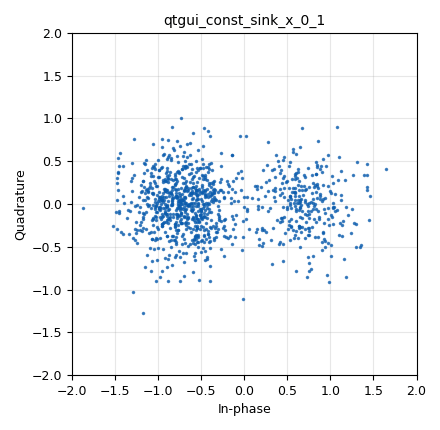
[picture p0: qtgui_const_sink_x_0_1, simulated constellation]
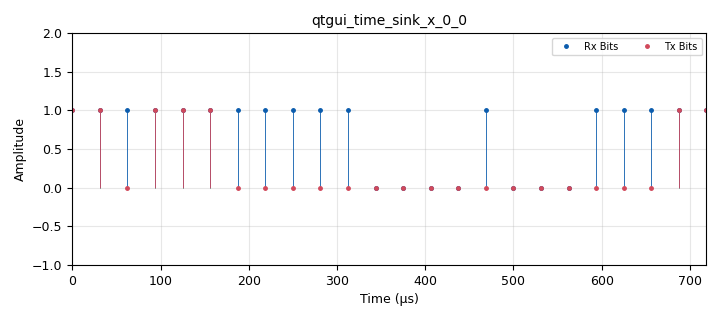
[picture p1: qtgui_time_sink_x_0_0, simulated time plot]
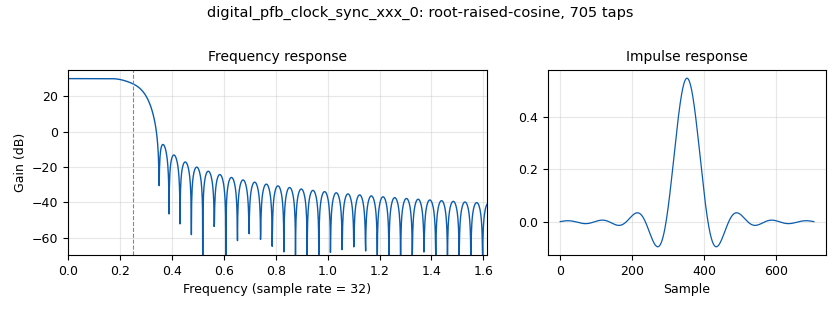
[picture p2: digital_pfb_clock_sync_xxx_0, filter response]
<?xml version='1.0' encoding='utf-8'?>
<?grc format='1' created='3.7.11'?>
<flow_graph>
<block>
<key>options</key>
<param><key>id</key><value>top_block</value></param>
<param><key>category</key><value>Custom</value></param>
<param><key>generate_options</key><value>qt_gui</value></param>
</block>
<block>
<key>variable</key>
<param><key>id</key><value>arity</value></param>
<param><key>value</key><value>2</value></param>
</block>
<block>
<key>variable_constellation_rect</key>
<param><key>id</key><value>bpsk</value></param>
<param><key>const_points</key><value>[1+0j, -1+0j]</value></param>
<param><key>imag_sect</key><value>2</value></param>
<param><key>real_sect</key><value>2</value></param>
<param><key>rot_sym</key><value>4</value></param>
<param><key>sym_map</key><value>[0, 1]</value></param>
<param><key>w_imag_sect</key><value>1</value></param>
<param><key>w_real_sect</key><value>1</value></param>
</block>
<block>
<key>variable_qtgui_range</key>
<param><key>id</key><value>delay</value></param>
<param><key>value</key><value>0</value></param>
<param><key>gui_hint</key><value>1,0,1,1</value></param>
<param><key>label</key><value>Delay</value></param>
<param><key>orient</key><value>Qt.Horizontal</value></param>
<param><key>start</key><value>0</value></param>
<param><key>step</key><value>1</value></param>
<param><key>stop</key><value>200</value></param>
</block>
<block>
<key>variable_qtgui_range</key>
<param><key>id</key><value>eq_gain</value></param>
<param><key>value</key><value>0.03</value></param>
<param><key>label</key><value>Equalizer: rate</value></param>
<param><key>orient</key><value>Qt.Horizontal</value></param>
<param><key>start</key><value>0.0</value></param>
<param><key>step</key><value>0.001</value></param>
<param><key>stop</key><value>0.3</value></param>
<param><key>widget</key><value>slider</value></param>
</block>
<block>
<key>variable</key>
<param><key>id</key><value>excess_bw</value></param>
<param><key>value</key><value>0.35</value></param>
</block>
<block>
<key>variable_qtgui_range</key>
<param><key>id</key><value>freq_offset</value></param>
<param><key>value</key><value>0</value></param>
<param><key>label</key><value>Frequency Offset</value></param>
<param><key>orient</key><value>Qt.Horizontal</value></param>
<param><key>start</key><value>-0.1</value></param>
<param><key>step</key><value>0.001</value></param>
<param><key>stop</key><value>0.1</value></param>
</block>
<block>
<key>variable</key>
<param><key>id</key><value>nfilts</value></param>
<param><key>value</key><value>32</value></param>
</block>
<block>
<key>variable_qtgui_range</key>
<param><key>id</key><value>noise_volt</value></param>
<param><key>value</key><value>1.2</value></param>
<param><key>label</key><value>Noise Voltage</value></param>
<param><key>orient</key><value>Qt.Vertical</value></param>
<param><key>start</key><value>0</value></param>
<param><key>step</key><value>0.01</value></param>
<param><key>stop</key><value>2</value></param>
</block>
<block>
<key>variable_qtgui_range</key>
<param><key>id</key><value>phase_bw</value></param>
<param><key>value</key><value>6.28/100.0</value></param>
<param><key>label</key><value>Phase: Bandwidth</value></param>
<param><key>orient</key><value>Qt.Horizontal</value></param>
<param><key>start</key><value>0.0</value></param>
<param><key>step</key><value>0.01</value></param>
<param><key>stop</key><value>1.0</value></param>
<param><key>widget</key><value>slider</value></param>
</block>
<block>
<key>variable</key>
<param><key>id</key><value>rrc_taps</value></param>
<param><key>value</key><value>firdes.root_raised_cosine(nfilts, nfilts, 1.0/float(sps), 0.35, 11*sps*nfilts)</value></param>
</block>
<block>
<key>variable</key>
<param><key>id</key><value>samp_rate</value></param>
<param><key>value</key><value>32000</value></param>
</block>
<block>
<key>variable</key>
<param><key>id</key><value>sps</value></param>
<param><key>value</key><value>2</value></param>
</block>
<block>
<key>variable_qtgui_range</key>
<param><key>id</key><value>time_offset</value></param>
<param><key>value</key><value>1.00</value></param>
<param><key>label</key><value>Timing Offset</value></param>
<param><key>orient</key><value>Qt.Horizontal</value></param>
<param><key>start</key><value>0.999</value></param>
<param><key>step</key><value>0.0001</value></param>
<param><key>stop</key><value>1.001</value></param>
</block>
<block>
<key>variable_qtgui_range</key>
<param><key>id</key><value>timing_loop_bw</value></param>
<param><key>value</key><value>6.28/100.0</value></param>
<param><key>label</key><value>Time: BW</value></param>
<param><key>orient</key><value>Qt.Horizontal</value></param>
<param><key>start</key><value>0.0</value></param>
<param><key>step</key><value>0.01</value></param>
<param><key>stop</key><value>0.2</value></param>
<param><key>widget</key><value>slider</value></param>
</block>
<block>
<key>blocks_add_xx</key>
<param><key>id</key><value>blocks_add_xx_0</value></param>
<param><key>type</key><value>float</value></param>
</block>
<block>
<key>blocks_delay</key>
<param><key>id</key><value>blocks_delay_0</value></param>
<param><key>delay</key><value>int(delay)</value></param>
<param><key>type</key><value>float</value></param>
</block>
<block>
<key>blocks_tags_strobe</key>
<param><key>id</key><value>blocks_tags_strobe_0</value></param>
<param><key>key</key><value>pmt.intern("strobe")</value></param>
<param><key>nsamps</key><value>3*8</value></param>
<param><key>type</key><value>float</value></param>
<param><key>value</key><value>pmt.intern("TEST")</value></param>
</block>
<block>
<key>blocks_throttle</key>
<param><key>id</key><value>blocks_throttle_0</value></param>
<param><key>samples_per_second</key><value>samp_rate</value></param>
<param><key>type</key><value>complex</value></param>
</block>
<block>
<key>blocks_uchar_to_float</key>
<param><key>id</key><value>blocks_uchar_to_float_0</value></param>
</block>
<block>
<key>blocks_uchar_to_float</key>
<param><key>id</key><value>blocks_uchar_to_float_1</value></param>
</block>
<block>
<key>blocks_unpack_k_bits_bb</key>
<param><key>id</key><value>blocks_unpack_k_bits_bb_0_0</value></param>
<param><key>k</key><value>8</value></param>
</block>
<block>
<key>blocks_vector_source_x</key>
<param><key>id</key><value>blocks_vector_source_x_0</value></param>
<param><key>type</key><value>byte</value></param>
<param><key>repeat</key><value>True</value></param>
<param><key>vector</key><value>(255, 8, 255)</value></param>
</block>
<block>
<key>channels_channel_model</key>
<param><key>id</key><value>channels_channel_model_0</value></param>
<param><key>epsilon</key><value>time_offset</value></param>
<param><key>freq_offset</key><value>freq_offset</value></param>
<param><key>noise_voltage</key><value>noise_volt</value></param>
<param><key>seed</key><value>0</value></param>
<param><key>taps</key><value>1+1j</value></param>
</block>
<block>
<key>digital_cma_equalizer_cc</key>
<param><key>id</key><value>digital_cma_equalizer_cc_0</value></param>
<param><key>mu</key><value>eq_gain</value></param>
<param><key>modulus</key><value>1</value></param>
<param><key>num_taps</key><value>2</value></param>
<param><key>sps</key><value>2</value></param>
</block>
<block>
<key>digital_constellation_decoder_cb</key>
<param><key>id</key><value>digital_constellation_decoder_cb_0</value></param>
<param><key>constellation</key><value>bpsk</value></param>
</block>
<block>
<key>digital_constellation_modulator</key>
<param><key>id</key><value>digital_constellation_modulator_0</value></param>
<param><key>constellation</key><value>bpsk</value></param>
<param><key>differential</key><value>False</value></param>
<param><key>excess_bw</key><value>excess_bw</value></param>
<param><key>samples_per_symbol</key><value>sps</value></param>
</block>
<block>
<key>digital_costas_loop_cc</key>
<param><key>id</key><value>digital_costas_loop_cc_0</value></param>
<param><key>w</key><value>phase_bw</value></param>
<param><key>order</key><value>2</value></param>
</block>
<block>
<key>digital_map_bb</key>
<param><key>id</key><value>digital_map_bb_0</value></param>
<param><key>map</key><value>[1, 0]</value></param>
</block>
<block>
<key>digital_pfb_clock_sync_xxx</key>
<param><key>id</key><value>digital_pfb_clock_sync_xxx_0</value></param>
<param><key>filter_size</key><value>nfilts</value></param>
<param><key>init_phase</key><value>nfilts/2</value></param>
<param><key>loop_bw</key><value>timing_loop_bw</value></param>
<param><key>max_dev</key><value>1.5</value></param>
<param><key>osps</key><value>2</value></param>
<param><key>sps</key><value>sps</value></param>
<param><key>taps</key><value>rrc_taps</value></param>
<param><key>type</key><value>ccf</value></param>
</block>
<block>
<key>qtgui_const_sink_x</key>
<param><key>id</key><value>qtgui_const_sink_x_0_1</value></param>
<param><key>size</key><value>1024</value></param>
<param><key>type</key><value>complex</value></param>
<param><key>update_time</key><value>0.1</value></param>
</block>
<block>
<key>qtgui_time_sink_x</key>
<param><key>id</key><value>qtgui_time_sink_x_0_0</value></param>
<param><key>gui_hint</key><value>2,1,1,1</value></param>
<param><key>color1</key><value>"blue"</value></param>
<param><key>label1</key><value>Rx Bits</value></param>
<param><key>marker1</key><value>0</value></param>
<param><key>style1</key><value>2</value></param>
<param><key>color2</key><value>"red"</value></param>
<param><key>label2</key><value>Tx Bits</value></param>
<param><key>name</key><value></value></param>
<param><key>nconnections</key><value>2</value></param>
<param><key>size</key><value>3*8</value></param>
<param><key>srate</key><value>samp_rate</value></param>
<param><key>stemplot</key><value>True</value></param>
<param><key>type</key><value>float</value></param>
<param><key>update_time</key><value>0.1</value></param>
<param><key>ymax</key><value>2</value></param>
</block>
<block>
<key>tutorial_my_bpsk_demod</key>
<param><key>id</key><value>tutorial_my_bpsk_demod_0</value></param>
<param><key>_enabled</key><value>0</value></param>
</block>
<connection><source_block_id>blocks_add_xx_0</source_block_id><sink_block_id>blocks_delay_0</sink_block_id><source_key>0</source_key><sink_key>0</sink_key></connection>
<connection><source_block_id>blocks_delay_0</source_block_id><sink_block_id>qtgui_time_sink_x_0_0</sink_block_id><source_key>0</source_key><sink_key>0</sink_key></connection>
<connection><source_block_id>blocks_tags_strobe_0</source_block_id><sink_block_id>blocks_add_xx_0</sink_block_id><source_key>0</source_key><sink_key>0</sink_key></connection>
<connection><source_block_id>blocks_throttle_0</source_block_id><sink_block_id>channels_channel_model_0</sink_block_id><source_key>0</source_key><sink_key>0</sink_key></connection>
<connection><source_block_id>blocks_uchar_to_float_0</source_block_id><sink_block_id>qtgui_time_sink_x_0_0</sink_block_id><source_key>0</source_key><sink_key>1</sink_key></connection>
<connection><source_block_id>blocks_uchar_to_float_1</source_block_id><sink_block_id>blocks_add_xx_0</sink_block_id><source_key>0</source_key><sink_key>1</sink_key></connection>
<connection><source_block_id>blocks_unpack_k_bits_bb_0_0</source_block_id><sink_block_id>blocks_uchar_to_float_1</sink_block_id><source_key>0</source_key><sink_key>0</sink_key></connection>
<connection><source_block_id>blocks_vector_source_x_0</source_block_id><sink_block_id>blocks_unpack_k_bits_bb_0_0</sink_block_id><source_key>0</source_key><sink_key>0</sink_key></connection>
<connection><source_block_id>blocks_vector_source_x_0</source_block_id><sink_block_id>digital_constellation_modulator_0</sink_block_id><source_key>0</source_key><sink_key>0</sink_key></connection>
<connection><source_block_id>channels_channel_model_0</source_block_id><sink_block_id>digital_pfb_clock_sync_xxx_0</sink_block_id><source_key>0</source_key><sink_key>0</sink_key></connection>
<connection><source_block_id>digital_cma_equalizer_cc_0</source_block_id><sink_block_id>digital_costas_loop_cc_0</sink_block_id><source_key>0</source_key><sink_key>0</sink_key></connection>
<connection><source_block_id>digital_constellation_decoder_cb_0</source_block_id><sink_block_id>digital_map_bb_0</sink_block_id><source_key>0</source_key><sink_key>0</sink_key></connection>
<connection><source_block_id>digital_constellation_modulator_0</source_block_id><sink_block_id>blocks_throttle_0</sink_block_id><source_key>0</source_key><sink_key>0</sink_key></connection>
<connection><source_block_id>digital_costas_loop_cc_0</source_block_id><sink_block_id>digital_constellation_decoder_cb_0</sink_block_id><source_key>0</source_key><sink_key>0</sink_key></connection>
<connection><source_block_id>digital_costas_loop_cc_0</source_block_id><sink_block_id>qtgui_const_sink_x_0_1</sink_block_id><source_key>0</source_key><sink_key>0</sink_key></connection>
<connection><source_block_id>digital_costas_loop_cc_0</source_block_id><sink_block_id>tutorial_my_bpsk_demod_0</sink_block_id><source_key>0</source_key><sink_key>0</sink_key></connection>
<connection><source_block_id>digital_map_bb_0</source_block_id><sink_block_id>blocks_uchar_to_float_0</sink_block_id><source_key>0</source_key><sink_key>0</sink_key></connection>
<connection><source_block_id>digital_pfb_clock_sync_xxx_0</source_block_id><sink_block_id>digital_cma_equalizer_cc_0</sink_block_id><source_key>0</source_key><sink_key>0</sink_key></connection>
<connection><source_block_id>tutorial_my_bpsk_demod_0</source_block_id><sink_block_id>digital_map_bb_0</sink_block_id><source_key>0</source_key><sink_key>0</sink_key></connection>
</flow_graph>
